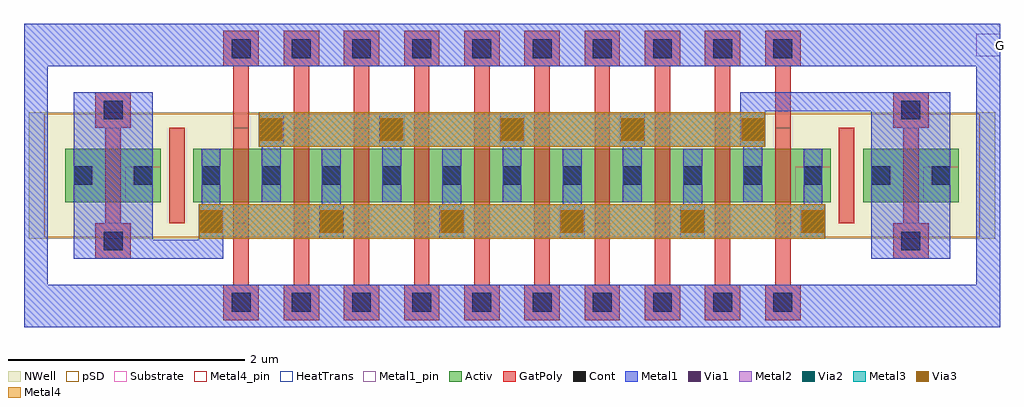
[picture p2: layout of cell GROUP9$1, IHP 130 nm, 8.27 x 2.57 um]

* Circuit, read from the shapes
.subckt GROUP9$1 G
XM1 pmos_priv3$1_0/D pmos_priv3$1_0/D pmos_priv3$1_0/D n1 sg13_lv_pmos w=0.45u l=0.13u
XM2 pmos_priv3$1_0/S G pmos_priv3$1_0/D n1 sg13_lv_pmos w=0.45u l=0.13u m=10
XM3 pmos_priv3$1_0/S pmos_priv3$1_0/S pmos_priv3$1_0/S n1 sg13_lv_pmos w=0.45u l=0.13u
.ends

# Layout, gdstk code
import gdstk
lib = gdstk.Library(unit=1e-6, precision=1e-09)
def R(c, l, rs):  # rectangles x0, y0, x1, y1
    for r in rs: c.add(gdstk.rectangle(r[:2], r[2:], *l))
def A(c, l, x, y, w, h, nx, ny, dx, dy):  # array of equal rectangles
    R(c, l, [(x+i*dx, y+j*dy, x+i*dx+w, y+j*dy+h) for i in range(nx) for j in range(ny)])
Activ = (1, 0)
GatPoly = (5, 0)
Cont = (6, 0)
Metal1 = (8, 0)
Metal1_pin = (8, 2)
Metal2 = (10, 0)
pSD = (14, 0)
Via1 = (19, 0)
Via2 = (29, 0)
Metal3 = (30, 0)
NWell = (31, 0)
Substrate = (40, 0)
Via3 = (49, 0)
Metal4 = (50, 0)
Metal4_pin = (50, 2)
HeatTrans = (51, 0)

pmos_priv3_1 = lib.new_cell('pmos_priv3$1')
A(pmos_priv3_1, Activ, 0, 0, 0.3, 0.3, 11, 1, 0.51, 0)
R(pmos_priv3_1, Activ, [(0,0,5.4,0.45)])
A(pmos_priv3_1, GatPoly, 0.255, -1, 0.3, 0.3, 10, 2, 0.51, 2.15)
A(pmos_priv3_1, GatPoly, 0.34, -0.7, 0.13, 0.52, 10, 2, 0.51, 1.33)
A(pmos_priv3_1, GatPoly, 0.34, -0.18, 0.13, 0.81, 10, 1, 0.51, 0)
R(pmos_priv3_1, GatPoly, [(0.34,-0.18,0.47,0.63)])
A(pmos_priv3_1, Cont, 0.325, -0.93, 0.16, 0.16, 10, 2, 0.51, 2.15)
A(pmos_priv3_1, Cont, 0.07, 0.145, 0.16, 0.16, 11, 1, 0.51, 0)
A(pmos_priv3_1, Metal1, 0.27, -1.06, 0.27, 0.36, 10, 2, 0.51, 2.21)
A(pmos_priv3_1, Metal1, 0.045, -0.31, 0.21, 0.29, 6, 1, 1.02, 0)
A(pmos_priv3_1, Metal1, 0.07, -0.035, 0.16, 0.05, 6, 1, 1.02, 0)
A(pmos_priv3_1, Metal1, 0.58, 0, 0.16, 0.45, 10, 1, 0.51, 0)
A(pmos_priv3_1, Metal1, 0.58, 0.435, 0.16, 0.05, 5, 1, 1.02, 0)
A(pmos_priv3_1, Metal1, 0.555, 0.47, 0.21, 0.29, 5, 1, 1.02, 0)
R(pmos_priv3_1, Metal1, [(0.07,0,0.23,0.45), (0.07,0,0.23,0.45), (0.58,0,0.74,0.45)])
A(pmos_priv3_1, Metal2, 0.05, -0.31, 0.2, 0.29, 6, 1, 1.02, 0)
A(pmos_priv3_1, Metal2, 0.56, 0.47, 0.2, 0.29, 5, 1, 1.02, 0)
R(pmos_priv3_1, Metal2, [(0.05,-0.31,5.35,-0.02), (0.56,0.47,4.84,0.76)])
R(pmos_priv3_1, pSD, [(-0.18,-0.3,5.58,0.75)])
A(pmos_priv3_1, Via1, 0.055, -0.26, 0.19, 0.19, 6, 1, 1.02, 0)
A(pmos_priv3_1, Via1, 0.565, 0.52, 0.19, 0.19, 5, 1, 1.02, 0)
A(pmos_priv3_1, Via2, 0.055, -0.26, 0.19, 0.19, 6, 1, 1.02, 0)
A(pmos_priv3_1, Via2, 0.565, 0.52, 0.19, 0.19, 5, 1, 1.02, 0)
A(pmos_priv3_1, Metal3, 0.05, -0.31, 0.2, 0.29, 6, 1, 1.02, 0)
A(pmos_priv3_1, Metal3, 0.56, 0.47, 0.2, 0.29, 5, 1, 1.02, 0)
R(pmos_priv3_1, Metal3, [(0.05,-0.31,5.35,-0.02), (0.56,0.47,4.84,0.76)])
R(pmos_priv3_1, NWell, [(-0.31,-0.31,5.71,0.76)])
R(pmos_priv3_1, Substrate, [(5.1,0,5.4,0.3)])
A(pmos_priv3_1, Via3, 0.055, -0.26, 0.19, 0.19, 6, 1, 1.02, 0)
A(pmos_priv3_1, Via3, 0.565, 0.52, 0.19, 0.19, 5, 1, 1.02, 0)
A(pmos_priv3_1, Metal4, 0.05, -0.31, 0.2, 0.29, 6, 1, 1.02, 0)
A(pmos_priv3_1, Metal4, 0.56, 0.47, 0.2, 0.29, 5, 1, 1.02, 0)
R(pmos_priv3_1, Metal4, [(0.05,-0.31,5.35,-0.02), (0.56,0.47,4.84,0.76)])
R(pmos_priv3_1, Metal4_pin, [(5.155,-0.26,5.345,-0.07), (4.645,0.52,4.835,0.71)])
A(pmos_priv3_1, HeatTrans, 0.34, -0.18, 0.13, 0.81, 10, 1, 0.51, 0)
pmos_priv3_1.add(gdstk.Label('pmos', (0.405,0.225), layer=63, texttype=0))
pmos_priv3_1.add(gdstk.Label('pmos', (0.405,0.225), layer=51, texttype=0))
pmos_priv3_1.add(gdstk.Label('pmos', (0.915,0.225), layer=51, texttype=0))
pmos_priv3_1.add(gdstk.Label('pmos', (1.425,0.225), layer=51, texttype=0))
pmos_priv3_1.add(gdstk.Label('pmos', (1.935,0.225), layer=51, texttype=0))
pmos_priv3_1.add(gdstk.Label('pmos', (2.445,0.225), layer=51, texttype=0))
pmos_priv3_1.add(gdstk.Label('pmos', (2.955,0.225), layer=51, texttype=0))
pmos_priv3_1.add(gdstk.Label('pmos', (3.465,0.225), layer=51, texttype=0))
pmos_priv3_1.add(gdstk.Label('pmos', (3.975,0.225), layer=51, texttype=0))
pmos_priv3_1.add(gdstk.Label('pmos', (4.485,0.225), layer=51, texttype=0))
pmos_priv3_1.add(gdstk.Label('pmos', (4.995,0.225), layer=51, texttype=0))
pmos_priv3_1.add(gdstk.Label('S', (4.74,0.615), layer=50, texttype=0))
pmos_priv3_1.add(gdstk.Label('D', (5.25,-0.165), layer=50, texttype=0))

pmos_3_priv5_1 = lib.new_cell('pmos$3_priv5$1')
R(pmos_3_priv5_1, Activ, [(0,0,0.3,0.3), (0,0,0.81,0.45), (0.51,0,0.81,0.3)])
R(pmos_3_priv5_1, GatPoly, [(0.255,-0.48,0.555,-0.18), (0.34,-0.18,0.47,0.63), (0.34,-0.18,0.47,0.63), (0.255,0.63,0.555,0.93)])
R(pmos_3_priv5_1, Cont, [(0.325,-0.41,0.485,-0.25), (0.07,0.145,0.23,0.305), (0.58,0.145,0.74,0.305), (0.325,0.7,0.485,0.86)])
R(pmos_3_priv5_1, Metal1, [(0.07,-0.48,0.74,0.93), (0.07,0,0.23,0.45), (0.07,0,0.23,0.45), (0.58,0,0.74,0.45), (0.58,0,0.74,0.45)])
R(pmos_3_priv5_1, pSD, [(-0.18,-0.3,0.99,0.75)])
R(pmos_3_priv5_1, NWell, [(-0.31,-0.31,1.12,0.76)])
R(pmos_3_priv5_1, Substrate, [(0.51,0,0.81,0.3)])
R(pmos_3_priv5_1, HeatTrans, [(0.34,-0.18,0.47,0.63)])
pmos_3_priv5_1.add(gdstk.Label('pmos', (0.405,0.225), layer=63, texttype=0))
pmos_3_priv5_1.add(gdstk.Label('pmos', (0.405,0.225), layer=51, texttype=0))

pmos_3_priv6_1 = lib.new_cell('pmos$3_priv6$1')
R(pmos_3_priv6_1, Activ, [(0,0,0.3,0.3), (0,0,0.81,0.45), (0.51,0,0.81,0.3)])
R(pmos_3_priv6_1, GatPoly, [(0.255,-0.48,0.555,-0.18), (0.34,-0.18,0.47,0.63), (0.34,-0.18,0.47,0.63), (0.255,0.63,0.555,0.93)])
R(pmos_3_priv6_1, Cont, [(0.325,-0.41,0.485,-0.25), (0.07,0.145,0.23,0.305), (0.58,0.145,0.74,0.305), (0.325,0.7,0.485,0.86)])
R(pmos_3_priv6_1, Metal1, [(0.07,-0.48,0.74,0.93), (0.07,0,0.23,0.45), (0.07,0,0.23,0.45), (0.58,0,0.74,0.45), (0.58,0,0.74,0.45)])
R(pmos_3_priv6_1, pSD, [(-0.18,-0.3,0.99,0.75)])
R(pmos_3_priv6_1, NWell, [(-0.31,-0.31,1.12,0.76)])
R(pmos_3_priv6_1, Substrate, [(0.51,0,0.81,0.3)])
R(pmos_3_priv6_1, HeatTrans, [(0.34,-0.18,0.47,0.63)])
pmos_3_priv6_1.add(gdstk.Label('pmos', (0.405,0.225), layer=63, texttype=0))
pmos_3_priv6_1.add(gdstk.Label('pmos', (0.405,0.225), layer=51, texttype=0))

group9_1 = lib.new_cell('GROUP9$1')
R(group9_1, GatPoly, [(285.785,-46.1,285.915,-45.29), (291.46,-46.1,291.59,-45.29)])
R(group9_1, Metal1, [(284.555,-46.98,292.825,-46.62), (284.555,-46.98,284.755,-44.41), (292.625,-46.98,292.825,-44.41), (285.645,-46.4,286.245,-46.24), (286.035,-46.24,286.245,-45.94), (290.625,-45.45,290.835,-45.15), (290.625,-45.15,291.735,-44.99), (284.555,-44.77,292.825,-44.41)])
R(group9_1, Metal1_pin, [(292.625,-44.685,292.825,-44.495)])
group9_1.add(gdstk.Reference(pmos_priv3_1, (285.99,-45.92)))
group9_1.add(gdstk.Reference(pmos_3_priv5_1, (284.905,-45.92)))
group9_1.add(gdstk.Reference(pmos_3_priv6_1, (291.665,-45.92)))
group9_1.add(gdstk.Label('G', (292.825,-44.59), layer=8, texttype=0))

lib.write_gds('GROUP9_1.gds')
